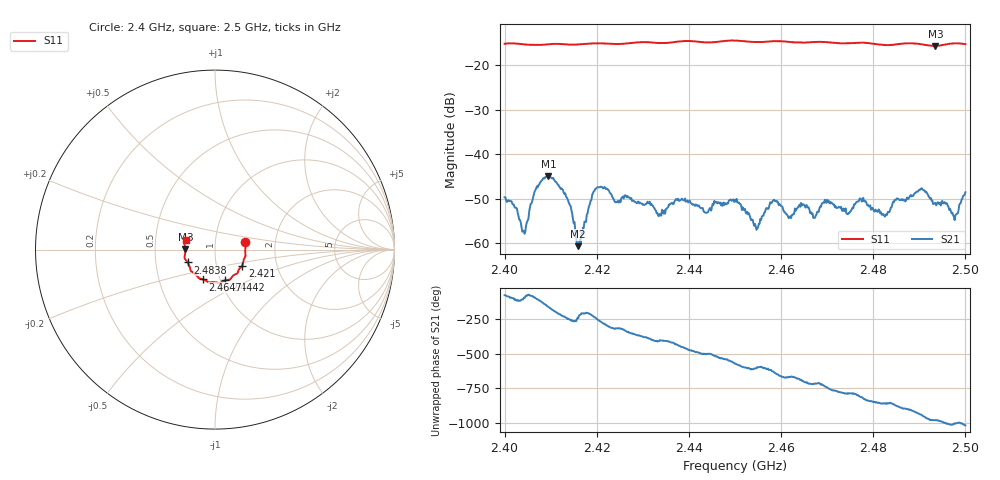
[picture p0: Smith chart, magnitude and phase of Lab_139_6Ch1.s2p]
# Hz S RI R 50
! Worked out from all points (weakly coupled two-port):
!   601 points, 2.4 GHz to 2.5 GHz, reference 50 ohm
!   highest |S21| = -44.98 dB at 2.4095 GHz (marker M1); lowest = -60.7 dB at 2.4158 GHz (marker M2)
!   lowest |S11| = -15.7 dB at 2.4935 GHz (marker M3), VSWR 1.39, Z = 35.9 + j0.19 ohm
!   |S11| at or under -10 dB: start of sweep to end of sweep
!   S12 and S22 are empty: the file has one direction only
!   S11 on the Smith chart (normalised r, x): 2.4 GHz: 1.40, +0.12; 2.421 GHz: 1.33, -0.24; 2.4442 GHz: 1.05, -0.37; 2.4647 GHz: 0.83, -0.28; 2.4838 GHz: 0.73, -0.11; 2.5 GHz: 0.71, +0.08
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2.4e9  0.1691 0.0403  0.000818 -0.00318  0 0  0 0
2.404167e9  0.1704 0.0172  -8.54e-05 -0.00138  0 0  0 0
2.406833e9  0.1684 -0.00873  -0.000659 -0.00405  0 0  0 0
2.4095e9  0.1695 -0.0266  -0.00531 -0.00188  0 0  0 0
2.413667e9  0.1643 -0.0474  -0.00116 0.0029  0 0  0 0
2.415833e9  0.1593 -0.0616  -0.000481 0.00079  0 0  0 0
2.416667e9  0.158 -0.0684  -0.00114 0.000588  0 0  0 0
2.419167e9  0.1545 -0.0831  -0.00252 0.00264  0 0  0 0
2.421e9  0.1515 -0.0889  4.35e-05 0.00429  0 0  0 0
2.433333e9  0.1087 -0.14  0.00133 -0.00154  0 0  0 0
2.444167e9  0.0571 -0.1706  -0.00177 -0.00137  0 0  0 0
2.45e9  0.0242 -0.1875  -0.00262 0.0016  0 0  0 0
2.454667e9  -0.00418 -0.1817  -0.000598 0.00128  0 0  0 0
2.458167e9  -0.028 -0.1836  -9.91e-05 0.00297  0 0  0 0
2.464667e9  -0.0671 -0.166  0.0025 0.0011  0 0  0 0
2.466667e9  -0.0814 -0.162  0.00212 -5.04e-05  0 0  0 0
2.483333e9  -0.1496 -0.0764  -0.00169 -0.00146  0 0  0 0
2.483833e9  -0.1522 -0.0718  -0.00192 -0.00162  0 0  0 0
2.490333e9  -0.1686 -0.0343  -0.00306 0.00269  0 0  0 0
2.4935e9  -0.1648 0.00258  -0.00036 0.00281  0 0  0 0
2.497833e9  -0.1717 0.039  0.000583 0.00198  0 0  0 0
2.5e9  -0.1642 0.0518  0.00189 0.00322  0 0  0 0
